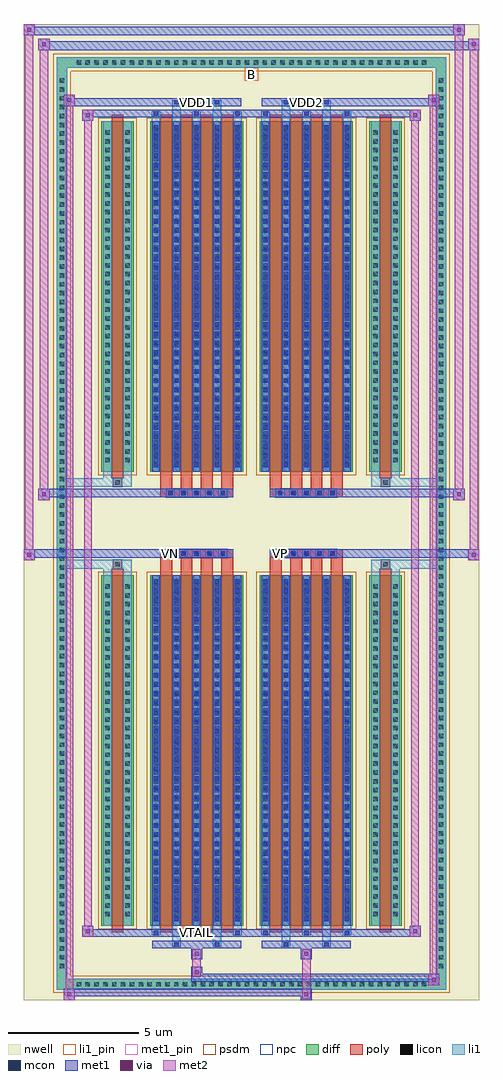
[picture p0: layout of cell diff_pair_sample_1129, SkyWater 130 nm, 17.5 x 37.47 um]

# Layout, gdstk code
import gdstk
lib = gdstk.Library(unit=1e-6, precision=5e-09)
def R(c, l, rs):  # rectangles x0, y0, x1, y1
    for r in rs: c.add(gdstk.rectangle(r[:2], r[2:], *l))
def A(c, l, x, y, w, h, nx, ny, dx, dy):  # array of equal rectangles
    R(c, l, [(x+i*dx, y+j*dy, x+i*dx+w, y+j*dy+h) for i in range(nx) for j in range(ny)])
def P(c, l, *ps):  # polygons
    for p in ps: c.add(gdstk.Polygon(p, *l))
nwell = (64, 20)
diff = (65, 20)
poly = (66, 20)
licon = (66, 44)
li1_pin = (67, 16)
li1 = (67, 20)
mcon = (67, 44)
met1_pin = (68, 16)
met1 = (68, 20)
via = (68, 44)
met2 = (69, 20)
psdm = (94, 20)
npc = (95, 20)

diff_pair_sample_1129 = lib.new_cell('diff_pair_sample_1129')
R(diff_pair_sample_1129, nwell, [(-8.75,-18.3,8.75,19.17), (-6.07,-16.49,-0.01,-0.795), (0.01,-16.49,6.07,-0.795), (-6.07,0.795,-0.01,16.49), (0.01,0.795,6.07,16.49)])
A(diff_pair_sample_1129, diff, -6.835, -17.9, 0.41, 0.41, 40, 2, 0.34, 35.39)
A(diff_pair_sample_1129, diff, -7.48, -17.205, 0.41, 0.41, 1, 101, 0, 0.34)
A(diff_pair_sample_1129, diff, 7.07, -17.205, 0.41, 0.41, 1, 101, 0, 0.34)
R(diff_pair_sample_1129, diff, [(-6.835,-17.9,6.835,-17.49), (-7.48,-17.205,-7.07,17.205), (7.07,-17.205,7.48,17.205), (-5.76,-15.445,-4.53,-1.985), (-3.89,-15.445,-0.32,-1.985), (0.32,-15.445,3.89,-1.985), (4.53,-15.445,5.76,-1.985), (-5.76,1.985,-4.53,15.445), (-3.89,1.985,-0.32,15.445), (0.32,1.985,3.89,15.445), (4.53,1.985,5.76,15.445), (-6.835,17.49,6.835,17.9)])
P(diff_pair_sample_1129, diff, [(7.48,17.9),(-7.48,17.9),(-7.48,-17.49),(-7.07,-17.49),(-7.07,17.49),(7.07,17.49),(7.07,-17.49),(-7.07,-17.49),(-7.48,-17.49),(-7.48,-17.9),(7.48,-17.9)])
A(diff_pair_sample_1129, poly, -3.5, -15.695, 0.45, 13.96, 4, 2, 0.78, 17.43)
A(diff_pair_sample_1129, poly, 0.71, -15.695, 0.45, 13.96, 4, 2, 0.78, 17.43)
A(diff_pair_sample_1129, poly, -3.5, -1.735, 0.45, 0.41, 4, 2, 0.78, 3.06)
A(diff_pair_sample_1129, poly, 0.71, -1.735, 0.45, 0.41, 4, 2, 0.78, 3.06)
A(diff_pair_sample_1129, poly, -3.27, -1.325, 0.33, 0.33, 5, 2, 0.5, 2.32)
A(diff_pair_sample_1129, poly, 0.94, -1.325, 0.33, 0.33, 5, 2, 0.5, 2.32)
R(diff_pair_sample_1129, poly, [(-5.37,-15.695,-4.92,-1.735), (4.92,-15.695,5.37,-1.735), (-5.31,-1.735,-4.98,-1.405), (-5.31,-1.735,-4.98,-1.405), (4.98,-1.735,5.31,-1.405), (4.98,-1.735,5.31,-1.405), (-3.5,-1.325,-0.71,-0.995), (0.71,-1.325,3.5,-0.995), (-3.5,0.995,-0.71,1.325), (0.71,0.995,3.5,1.325), (-5.31,1.405,-4.98,1.735), (-5.31,1.405,-4.98,1.735), (4.98,1.405,5.31,1.735), (4.98,1.405,5.31,1.735), (-5.37,1.735,-4.92,15.695), (4.92,1.735,5.37,15.695)])
A(diff_pair_sample_1129, licon, -6.715, -17.78, 0.17, 0.17, 40, 2, 0.34, 35.39)
A(diff_pair_sample_1129, licon, -7.36, -17.085, 0.17, 0.17, 1, 101, 0, 0.34)
A(diff_pair_sample_1129, licon, 7.19, -17.085, 0.17, 0.17, 1, 101, 0, 0.34)
A(diff_pair_sample_1129, licon, -5.62, -15.09, 0.17, 0.17, 1, 38, 0, 0.34)
A(diff_pair_sample_1129, licon, -4.84, -15.09, 0.17, 0.17, 1, 38, 0, 0.34)
A(diff_pair_sample_1129, licon, -3.75, -15.09, 0.17, 0.17, 5, 38, 0.78, 0.34)
A(diff_pair_sample_1129, licon, 0.46, -15.09, 0.17, 0.17, 5, 38, 0.78, 0.34)
A(diff_pair_sample_1129, licon, 4.67, -15.09, 0.17, 0.17, 1, 38, 0, 0.34)
A(diff_pair_sample_1129, licon, 5.45, -15.09, 0.17, 0.17, 1, 38, 0, 0.34)
A(diff_pair_sample_1129, licon, -3.19, -1.245, 0.17, 0.17, 5, 2, 0.5, 2.32)
A(diff_pair_sample_1129, licon, 1.02, -1.245, 0.17, 0.17, 5, 2, 0.5, 2.32)
A(diff_pair_sample_1129, licon, -5.62, 2.34, 0.17, 0.17, 1, 38, 0, 0.34)
A(diff_pair_sample_1129, licon, -4.84, 2.34, 0.17, 0.17, 1, 38, 0, 0.34)
A(diff_pair_sample_1129, licon, -3.75, 2.34, 0.17, 0.17, 5, 38, 0.78, 0.34)
A(diff_pair_sample_1129, licon, 0.46, 2.34, 0.17, 0.17, 5, 38, 0.78, 0.34)
A(diff_pair_sample_1129, licon, 4.67, 2.34, 0.17, 0.17, 1, 38, 0, 0.34)
A(diff_pair_sample_1129, licon, 5.45, 2.34, 0.17, 0.17, 1, 38, 0, 0.34)
R(diff_pair_sample_1129, licon, [(-5.23,-1.655,-5.06,-1.485), (5.06,-1.655,5.23,-1.485), (-5.23,1.485,-5.06,1.655), (5.06,1.485,5.23,1.655)])
R(diff_pair_sample_1129, li1_pin, [(-0.25,16.99,0.25,17.49)])
A(diff_pair_sample_1129, li1, -6.795, -17.86, 0.33, 0.33, 40, 2, 0.34, 35.39)
A(diff_pair_sample_1129, li1, -7.44, -17.165, 0.33, 0.33, 1, 101, 0, 0.34)
A(diff_pair_sample_1129, li1, 7.11, -17.165, 0.33, 0.33, 1, 101, 0, 0.34)
A(diff_pair_sample_1129, li1, -3.83, -15.82, 0.33, 0.375, 3, 2, 1.56, 31.265)
A(diff_pair_sample_1129, li1, -3.75, -15.82, 0.17, 0.17, 3, 2, 1.56, 31.47)
A(diff_pair_sample_1129, li1, 0.38, -15.82, 0.33, 0.375, 3, 2, 1.56, 31.265)
A(diff_pair_sample_1129, li1, 0.46, -15.82, 0.17, 0.17, 3, 2, 1.56, 31.47)
A(diff_pair_sample_1129, li1, -3.83, -15.445, 0.33, 13.46, 5, 2, 0.78, 17.43)
A(diff_pair_sample_1129, li1, 0.38, -15.445, 0.33, 13.46, 5, 2, 0.78, 17.43)
A(diff_pair_sample_1129, li1, -3.75, -15.28, 0.17, 0.17, 5, 37, 0.78, 0.36)
A(diff_pair_sample_1129, li1, -3.75, -15.28, 0.17, 13.13, 5, 2, 0.78, 17.43)
A(diff_pair_sample_1129, li1, 0.46, -15.28, 0.17, 0.17, 5, 37, 0.78, 0.36)
A(diff_pair_sample_1129, li1, 0.46, -15.28, 0.17, 13.13, 5, 2, 0.78, 17.43)
A(diff_pair_sample_1129, li1, -5.7, -15.17, 0.33, 0.33, 1, 38, 0, 0.34)
A(diff_pair_sample_1129, li1, -4.92, -15.17, 0.33, 0.33, 1, 38, 0, 0.34)
A(diff_pair_sample_1129, li1, -3.83, -15.17, 0.33, 0.33, 5, 38, 0.78, 0.34)
A(diff_pair_sample_1129, li1, 0.38, -15.17, 0.33, 0.33, 5, 38, 0.78, 0.34)
A(diff_pair_sample_1129, li1, 4.59, -15.17, 0.33, 0.33, 1, 38, 0, 0.34)
A(diff_pair_sample_1129, li1, 5.37, -15.17, 0.33, 0.33, 1, 38, 0, 0.34)
A(diff_pair_sample_1129, li1, -3.27, -1.325, 0.33, 0.33, 5, 2, 0.5, 2.32)
A(diff_pair_sample_1129, li1, 0.94, -1.325, 0.33, 0.33, 5, 2, 0.5, 2.32)
A(diff_pair_sample_1129, li1, -3.75, 2.15, 0.17, 0.17, 5, 37, 0.78, 0.36)
A(diff_pair_sample_1129, li1, 0.46, 2.15, 0.17, 0.17, 5, 37, 0.78, 0.36)
A(diff_pair_sample_1129, li1, -5.7, 2.26, 0.33, 0.33, 1, 38, 0, 0.34)
A(diff_pair_sample_1129, li1, -4.92, 2.26, 0.33, 0.33, 1, 38, 0, 0.34)
A(diff_pair_sample_1129, li1, -3.83, 2.26, 0.33, 0.33, 5, 38, 0.78, 0.34)
A(diff_pair_sample_1129, li1, 0.38, 2.26, 0.33, 0.33, 5, 38, 0.78, 0.34)
A(diff_pair_sample_1129, li1, 4.59, 2.26, 0.33, 0.33, 1, 38, 0, 0.34)
A(diff_pair_sample_1129, li1, 5.37, 2.26, 0.33, 0.33, 1, 38, 0, 0.34)
R(diff_pair_sample_1129, li1, [(-7.48,-17.9,-7.07,-17.49), (-7.48,-17.9,-7.07,-17.49), (-7.07,-17.9,7.07,-17.49), (7.07,-17.9,7.48,-17.49), (7.07,-17.9,7.48,-17.49), (-7.48,-17.49,-7.07,17.49), (7.07,-17.49,7.48,17.49), (-3.05,-16.25,-2.72,-15.445), (-2.97,-16.25,-2.8,-16.08), (-1.49,-16.25,-1.16,-15.445), (-1.41,-16.25,-1.24,-16.08), (1.16,-16.25,1.49,-15.445), (1.24,-16.25,1.41,-16.08), (2.72,-16.25,3.05,-15.445), (2.8,-16.25,2.97,-16.08), (-5.7,-15.445,-5.37,-1.985), (-4.92,-15.445,-4.59,-1.985), (4.59,-15.445,4.92,-1.985), (5.37,-15.445,5.7,-1.985), (-5.7,-1.985,-5.37,-1.405), (-4.92,-1.985,-4.59,-1.405), (4.59,-1.985,4.92,-1.405), (5.37,-1.985,5.7,-1.405), (-7.48,-1.735,-5.31,-1.405), (-5.7,-1.735,-5.31,-1.405), (-5.31,-1.735,-4.98,-1.405), (-4.98,-1.735,-4.59,-1.405), (4.59,-1.735,4.98,-1.405), (4.98,-1.735,5.31,-1.405), (4.98,-1.735,7.48,-1.405), (5.31,-1.735,5.7,-1.405), (-7.48,1.405,-5.31,1.735), (-5.7,1.405,-5.31,1.735), (-5.7,1.405,-5.37,1.985), (-5.31,1.405,-4.98,1.735), (-4.98,1.405,-4.59,1.735), (-4.92,1.405,-4.59,1.985), (4.59,1.405,4.98,1.735), (4.59,1.405,4.92,1.985), (4.98,1.405,5.31,1.735), (4.98,1.405,7.48,1.735), (5.31,1.405,5.7,1.735), (5.37,1.405,5.7,1.985), (-5.7,1.985,-5.37,15.445), (-4.92,1.985,-4.59,15.445), (4.59,1.985,4.92,15.445), (5.37,1.985,5.7,15.445), (-3.05,15.445,-2.72,16.25), (-1.49,15.445,-1.16,16.25), (1.16,15.445,1.49,16.25), (2.72,15.445,3.05,16.25), (-2.97,16.08,-2.8,16.25), (-1.41,16.08,-1.24,16.25), (1.24,16.08,1.41,16.25), (2.8,16.08,2.97,16.25), (-7.48,17.49,-7.07,17.9), (-7.48,17.49,-7.07,17.9), (-7.07,17.49,7.07,17.9), (7.07,17.49,7.48,17.9), (7.07,17.49,7.48,17.9)])
A(diff_pair_sample_1129, mcon, -3.75, -15.82, 0.17, 0.17, 3, 2, 1.56, 31.47)
A(diff_pair_sample_1129, mcon, 0.46, -15.82, 0.17, 0.17, 3, 2, 1.56, 31.47)
A(diff_pair_sample_1129, mcon, -3.75, -15.28, 0.17, 0.17, 5, 37, 0.78, 0.36)
A(diff_pair_sample_1129, mcon, 0.46, -15.28, 0.17, 0.17, 5, 37, 0.78, 0.36)
A(diff_pair_sample_1129, mcon, -3.19, -1.245, 0.17, 0.17, 5, 2, 0.5, 2.32)
A(diff_pair_sample_1129, mcon, 1.02, -1.245, 0.17, 0.17, 5, 2, 0.5, 2.32)
A(diff_pair_sample_1129, mcon, -3.75, 2.15, 0.17, 0.17, 5, 37, 0.78, 0.36)
A(diff_pair_sample_1129, mcon, 0.46, 2.15, 0.17, 0.17, 5, 37, 0.78, 0.36)
R(diff_pair_sample_1129, mcon, [(-2.97,-16.25,-2.8,-16.08), (-1.41,-16.25,-1.24,-16.08), (1.24,-16.25,1.41,-16.08), (2.8,-16.25,2.97,-16.08), (-2.97,16.08,-2.8,16.25), (-1.41,16.08,-1.24,16.25), (1.24,16.08,1.41,16.25), (2.8,16.08,2.97,16.25)])
R(diff_pair_sample_1129, met1_pin, [(-2.24,-15.86,-1.97,-15.59), (-3.24,-1.285,-2.97,-1.015), (0.97,-1.285,1.24,-1.015), (-2.24,16.04,-1.97,16.31), (1.97,16.04,2.24,16.31)])
A(diff_pair_sample_1129, met1, -3.81, -15.88, 0.29, 0.29, 3, 2, 1.56, 31.47)
A(diff_pair_sample_1129, met1, 0.4, -15.88, 0.29, 0.29, 3, 2, 1.56, 31.47)
A(diff_pair_sample_1129, met1, -3.81, -15.445, 0.29, 13.46, 5, 2, 0.78, 17.43)
A(diff_pair_sample_1129, met1, 0.4, -15.445, 0.29, 13.46, 5, 2, 0.78, 17.43)
A(diff_pair_sample_1129, met1, -3.81, -15.34, 0.29, 0.29, 5, 37, 0.78, 0.36)
A(diff_pair_sample_1129, met1, 0.4, -15.34, 0.29, 0.29, 5, 37, 0.78, 0.36)
A(diff_pair_sample_1129, met1, -3.25, -1.305, 0.29, 0.29, 5, 2, 0.5, 2.32)
A(diff_pair_sample_1129, met1, 0.96, -1.305, 0.29, 0.29, 5, 2, 0.5, 2.32)
A(diff_pair_sample_1129, met1, -3.81, 2.09, 0.29, 0.29, 5, 37, 0.78, 0.36)
A(diff_pair_sample_1129, met1, 0.4, 2.09, 0.29, 0.29, 5, 37, 0.78, 0.36)
R(diff_pair_sample_1129, met1, [(-7.21,-18.3,-6.78,-17.87), (1.89,-18.3,2.32,-17.87), (-7.21,-18.16,2.32,-17.87), (6.78,-17.73,7.21,-17.3), (-2.32,-17.59,7.21,-17.3), (-2.32,-17.45,-1.89,-17.02), (-2.32,-16.74,-1.89,-16.31), (1.89,-16.74,2.32,-16.31), (-3.81,-16.31,-0.4,-16.02), (-3.03,-16.31,-2.74,-16.02), (-1.47,-16.31,-1.18,-16.02), (0.4,-16.31,3.81,-16.02), (1.18,-16.31,1.47,-16.02), (2.74,-16.31,3.03,-16.02), (-6.5,-15.88,-6.07,-15.45), (-6.5,-15.88,-3.81,-15.59), (-3.81,-15.88,-0.4,-15.59), (-0.4,-15.88,0.4,-15.59), (0.4,-15.88,3.81,-15.59), (3.81,-15.88,6.5,-15.59), (6.07,-15.88,6.5,-15.45), (-8.75,-1.425,-8.32,-0.995), (8.32,-1.425,8.75,-0.995), (-8.75,-1.325,-0.71,-0.995), (-3.5,-1.325,-0.71,-0.995), (0.71,-1.325,3.5,-0.995), (0.71,-1.325,8.75,-0.995), (-8.18,0.895,-7.75,1.325), (7.75,0.895,8.18,1.325), (-8.18,0.995,-3.5,1.325), (-3.5,0.995,-0.71,1.325), (0.71,0.995,3.5,1.325), (3.5,0.995,8.18,1.325), (-6.5,15.45,-6.07,15.88), (6.07,15.45,6.5,15.88), (-6.5,15.59,-3.81,15.88), (-3.81,15.59,-0.4,15.88), (-0.4,15.59,0.4,15.88), (0.4,15.59,3.81,15.88), (3.81,15.59,6.5,15.88), (-7.21,16.02,-6.78,16.45), (-7.21,16.02,-3.81,16.31), (-3.81,16.02,-0.4,16.31), (-3.03,16.02,-2.74,16.31), (-1.47,16.02,-1.18,16.31), (0.4,16.02,3.81,16.31), (1.18,16.02,1.47,16.31), (2.74,16.02,3.03,16.31), (3.81,16.02,7.21,16.31), (6.78,16.02,7.21,16.45), (-8.18,18.17,-7.75,18.6), (-8.18,18.17,-6.07,18.5), (-6.07,18.17,6.07,18.5), (6.07,18.17,8.75,18.5), (8.32,18.17,8.75,18.6), (-8.75,18.74,-8.32,19.17), (-8.75,18.74,-6.07,19.07), (-6.07,18.74,6.07,19.07), (6.07,18.74,8.18,19.07), (7.75,18.74,8.18,19.17)])
R(diff_pair_sample_1129, via, [(-7.07,-18.16,-6.92,-18.01), (2.03,-18.16,2.18,-18.01), (6.92,-17.59,7.07,-17.44), (-2.18,-17.31,-2.03,-17.16), (-2.18,-16.6,-2.03,-16.45), (2.03,-16.6,2.18,-16.45), (-6.36,-15.74,-6.21,-15.59), (6.21,-15.74,6.36,-15.59), (-8.61,-1.285,-8.46,-1.135), (8.46,-1.285,8.61,-1.135), (-8.04,1.035,-7.89,1.185), (7.89,1.035,8.04,1.185), (-6.36,15.59,-6.21,15.74), (6.21,15.59,6.36,15.74), (-7.07,16.16,-6.92,16.31), (6.92,16.16,7.07,16.31), (-8.04,18.31,-7.89,18.46), (8.46,18.31,8.61,18.46), (-8.61,18.88,-8.46,19.03), (7.89,18.88,8.04,19.03)])
R(diff_pair_sample_1129, met2, [(-7.21,-18.3,-6.78,-17.87), (-7.14,-18.3,-6.85,16.45), (-6.85,-18.3,-6.78,-17.87), (-7.16,-18.25,-6.83,-17.92), (1.94,-18.25,2.27,-17.92), (1.94,-17.92,2.27,-16.69), (6.78,-17.73,7.21,-17.3), (6.85,-17.73,7.14,16.45), (7.14,-17.73,7.21,-17.3), (6.83,-17.68,7.16,-17.35), (-2.27,-17.4,-1.94,-17.07), (-2.27,-17.07,-1.94,-16.69), (-2.27,-16.69,-1.94,-16.36), (1.94,-16.69,2.27,-16.36), (-6.5,-15.88,-6.07,-15.45), (-6.43,-15.88,-6.14,15.88), (-6.14,-15.88,-6.07,-15.45), (6.07,-15.88,6.5,-15.45), (6.14,-15.88,6.43,15.88), (6.43,-15.88,6.5,-15.45), (-6.45,-15.83,-6.12,-15.5), (6.12,-15.83,6.45,-15.5), (-8.75,-1.425,-8.32,-0.995), (-8.7,-1.425,-8.37,19.17), (-8.37,-1.425,-8.32,-0.995), (8.32,-1.425,8.75,-0.995), (8.37,-1.425,8.7,18.6), (8.7,-1.425,8.75,-0.995), (-8.7,-1.375,-8.37,-1.045), (8.37,-1.375,8.7,-1.045), (-8.18,0.895,-7.75,1.325), (-8.13,0.895,-7.8,18.6), (-7.8,0.895,-7.75,1.325), (7.75,0.895,8.18,1.325), (7.8,0.895,8.13,19.17), (8.13,0.895,8.18,1.325), (-8.13,0.945,-7.8,1.275), (7.8,0.945,8.13,1.275), (-6.5,15.45,-6.07,15.88), (-6.14,15.45,-6.07,15.88), (6.07,15.45,6.5,15.88), (6.43,15.45,6.5,15.88), (-6.45,15.5,-6.12,15.83), (6.12,15.5,6.45,15.83), (-7.21,16.02,-6.78,16.45), (-6.85,16.02,-6.78,16.45), (6.78,16.02,7.21,16.45), (7.14,16.02,7.21,16.45), (-7.16,16.07,-6.83,16.4), (6.83,16.07,7.16,16.4), (-8.18,18.17,-7.75,18.6), (-7.8,18.17,-7.75,18.6), (8.32,18.17,8.75,18.6), (8.7,18.17,8.75,18.6), (-8.13,18.22,-7.8,18.55), (8.37,18.22,8.7,18.55), (-8.75,18.74,-8.32,19.17), (-8.37,18.74,-8.32,19.17), (7.75,18.74,8.18,19.17), (8.13,18.74,8.18,19.17), (-8.7,18.79,-8.37,19.12), (7.8,18.79,8.13,19.12)])
R(diff_pair_sample_1129, psdm, [(-5.89,-15.575,-4.4,-1.855), (-4.02,-15.575,-0.19,-1.855), (0.19,-15.575,4.02,-1.855), (4.4,-15.575,5.89,-1.855), (-5.89,1.855,-4.4,15.575), (-4.02,1.855,-0.19,15.575), (0.19,1.855,4.02,15.575), (4.4,1.855,5.89,15.575)])
P(diff_pair_sample_1129, psdm, [(7.61,18.03),(-7.61,18.03),(-7.61,-17.36),(-6.94,-17.36),(-6.94,17.36),(6.94,17.36),(6.94,-17.36),(-6.94,-17.36),(-7.61,-17.36),(-7.61,-18.03),(7.61,-18.03)])
A(diff_pair_sample_1129, npc, -3.29, -1.345, 0.37, 0.37, 5, 2, 0.5, 2.32)
A(diff_pair_sample_1129, npc, 0.92, -1.345, 0.37, 0.37, 5, 2, 0.5, 2.32)
R(diff_pair_sample_1129, npc, [(-5.33,-1.755,-4.96,-1.385), (4.96,-1.755,5.33,-1.385), (-3.29,-1.345,-2.42,-0.975), (-3.29,-1.345,-2.42,-0.975), (-2.79,-1.345,-1.92,-0.975), (-2.79,-1.345,-1.92,-0.975), (-2.29,-1.345,-1.42,-0.975), (-2.29,-1.345,-1.42,-0.975), (-1.79,-1.345,-0.92,-0.975), (-1.79,-1.345,-0.92,-0.975), (0.92,-1.345,1.79,-0.975), (0.92,-1.345,1.79,-0.975), (1.42,-1.345,2.29,-0.975), (1.42,-1.345,2.29,-0.975), (1.92,-1.345,2.79,-0.975), (1.92,-1.345,2.79,-0.975), (2.42,-1.345,3.29,-0.975), (2.42,-1.345,3.29,-0.975), (-3.29,0.975,-2.42,1.345), (-3.29,0.975,-2.42,1.345), (-2.79,0.975,-1.92,1.345), (-2.79,0.975,-1.92,1.345), (-2.29,0.975,-1.42,1.345), (-2.29,0.975,-1.42,1.345), (-1.79,0.975,-0.92,1.345), (-1.79,0.975,-0.92,1.345), (0.92,0.975,1.79,1.345), (0.92,0.975,1.79,1.345), (1.42,0.975,2.29,1.345), (1.42,0.975,2.29,1.345), (1.92,0.975,2.79,1.345), (1.92,0.975,2.79,1.345), (2.42,0.975,3.29,1.345), (2.42,0.975,3.29,1.345), (-5.33,1.385,-4.96,1.755), (4.96,1.385,5.33,1.755)])
diff_pair_sample_1129.add(gdstk.Label('VTAIL', (-2.105,-15.725), layer=68, texttype=5))
diff_pair_sample_1129.add(gdstk.Label('VN', (-3.105,-1.15), layer=68, texttype=5))
diff_pair_sample_1129.add(gdstk.Label('VP', (1.105,-1.15), layer=68, texttype=5))
diff_pair_sample_1129.add(gdstk.Label('B', (0,17.24), layer=67, texttype=5))
diff_pair_sample_1129.add(gdstk.Label('VDD2', (2.105,16.175), layer=68, texttype=5))
diff_pair_sample_1129.add(gdstk.Label('VDD1', (-2.105,16.175), layer=68, texttype=5))

lib.write_gds('diff_pair_sample_1129.gds')
